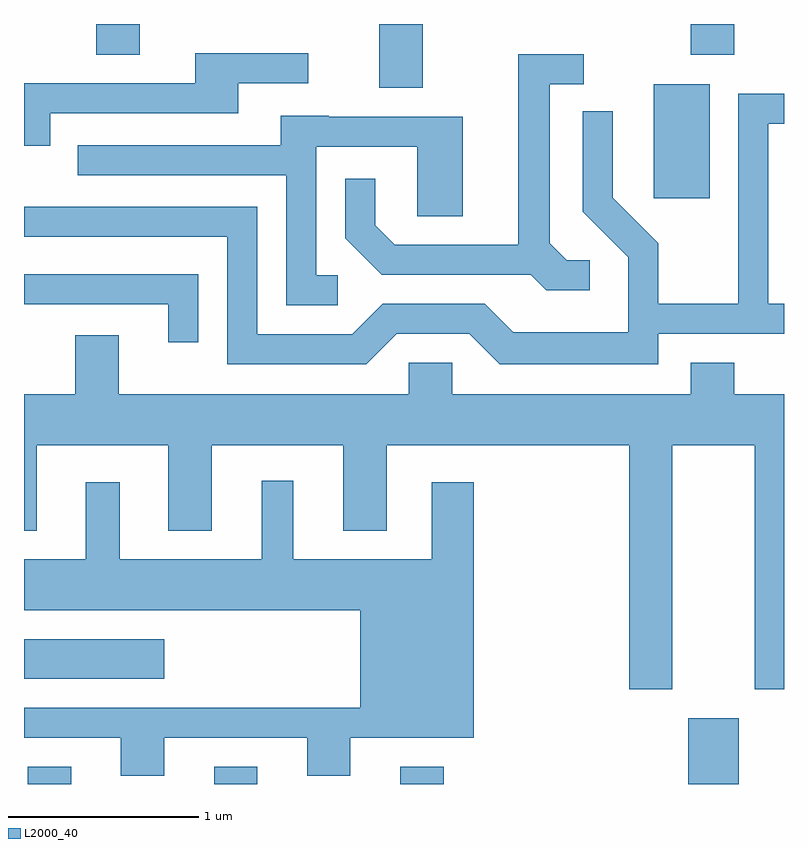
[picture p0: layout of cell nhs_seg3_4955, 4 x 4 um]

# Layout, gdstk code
import gdstk
lib = gdstk.Library(unit=1e-6, precision=1e-09)
def R(c, l, rs):  # rectangles x0, y0, x1, y1
    for r in rs: c.add(gdstk.rectangle(r[:2], r[2:], *l))
def A(c, l, x, y, w, h, nx, ny, dx, dy):  # array of equal rectangles
    R(c, l, [(x+i*dx, y+j*dy, x+i*dx+w, y+j*dy+h) for i in range(nx) for j in range(ny)])
def P(c, l, *ps):  # polygons
    for p in ps: c.add(gdstk.Polygon(p, *l))
L2000_40 = (2000, 40)

nhs_seg3_4955 = lib.new_cell('nhs_seg3_4955')
A(nhs_seg3_4955, L2000_40, 329.631, 1241.892, 0.228, 0.092, 3, 1, 0.98, 0)
R(nhs_seg3_4955, L2000_40, [(333.106,1241.892,333.374,1242.239), (329.611,1242.446,330.349,1242.654), (332.926,1244.976,333.219,1245.574), (331.481,1245.556,331.709,1245.892), (329.991,1245.731,330.219,1245.892), (333.121,1245.731,333.349,1245.892)])
P(nhs_seg3_4955, L2000_40, [(329.749,1245.421),(330.739,1245.421),(330.739,1245.581),(331.108,1245.581),(331.108,1245.739),(330.511,1245.739),(330.511,1245.579),(329.611,1245.579),(329.611,1245.251),(329.749,1245.251)],
  [(332.588,1244.649),(332.467,1244.649),(332.379,1244.737),(332.379,1245.576),(332.558,1245.576),(332.558,1245.734),(332.211,1245.734),(332.211,1244.729),(331.562,1244.729),(331.459,1244.832),(331.459,1245.078),(331.301,1245.078),(331.301,1244.764),(331.494,1244.571),(332.279,1244.571),(332.359,1244.491),(332.588,1244.491)],
  [(331.572,1244.261),(331.954,1244.261),(332.114,1244.101),(332.949,1244.101),(332.949,1244.261),(333.611,1244.261),(333.611,1244.419),(333.529,1244.419),(333.529,1245.366),(333.611,1245.366),(333.611,1245.524),(333.371,1245.524),(333.371,1244.419),(332.949,1244.419),(332.949,1244.737),(332.709,1244.977),(332.709,1245.433),(332.551,1245.433),(332.551,1244.904),(332.791,1244.664),(332.791,1244.269),(332.187,1244.269),(332.037,1244.419),(331.499,1244.419),(331.339,1244.259),(330.839,1244.259),(330.839,1244.929),(329.611,1244.929),(329.611,1244.771),(330.681,1244.771),(330.681,1244.101),(331.412,1244.101)],
  [(331.263,1244.569),(331.149,1244.569),(331.149,1245.246),(331.681,1245.246),(331.681,1244.881),(331.919,1244.881),(331.919,1245.404),(331.215,1245.404),(331.215,1245.409),(330.961,1245.409),(330.961,1245.254),(329.893,1245.254),(329.893,1245.096),(330.991,1245.096),(330.991,1244.411),(331.263,1244.411)],
  [(330.529,1244.574),(329.611,1244.574),(329.611,1244.416),(330.371,1244.416),(330.371,1244.218),(330.529,1244.218)],
  [(333.024,1243.676),(333.456,1243.676),(333.456,1242.391),(333.611,1242.391),(333.611,1243.944),(333.349,1243.944),(333.349,1244.109),(333.121,1244.109),(333.121,1243.944),(331.864,1243.944),(331.864,1244.109),(331.636,1244.109),(331.636,1243.944),(330.109,1243.944),(330.109,1244.254),(329.881,1244.254),(329.881,1243.944),(329.611,1243.944),(329.611,1243.226),(329.679,1243.226),(329.679,1243.676),(330.371,1243.676),(330.371,1243.226),(330.599,1243.226),(330.599,1243.676),(331.291,1243.676),(331.291,1243.226),(331.519,1243.226),(331.519,1243.676),(332.796,1243.676),(332.796,1242.391),(333.024,1242.391)],
  [(330.349,1242.136),(331.101,1242.136),(331.101,1241.936),(331.329,1241.936),(331.329,1242.136),(331.979,1242.136),(331.979,1243.479),(331.756,1243.479),(331.756,1243.074),(331.029,1243.074),(331.029,1243.488),(330.861,1243.488),(330.861,1243.074),(330.114,1243.074),(330.114,1243.479),(329.936,1243.479),(329.936,1243.074),(329.611,1243.074),(329.611,1242.806),(331.381,1242.806),(331.381,1242.294),(329.611,1242.294),(329.611,1242.136),(330.121,1242.136),(330.121,1241.936),(330.349,1241.936)])

lib.write_gds('nhs_seg3_4955.gds')
